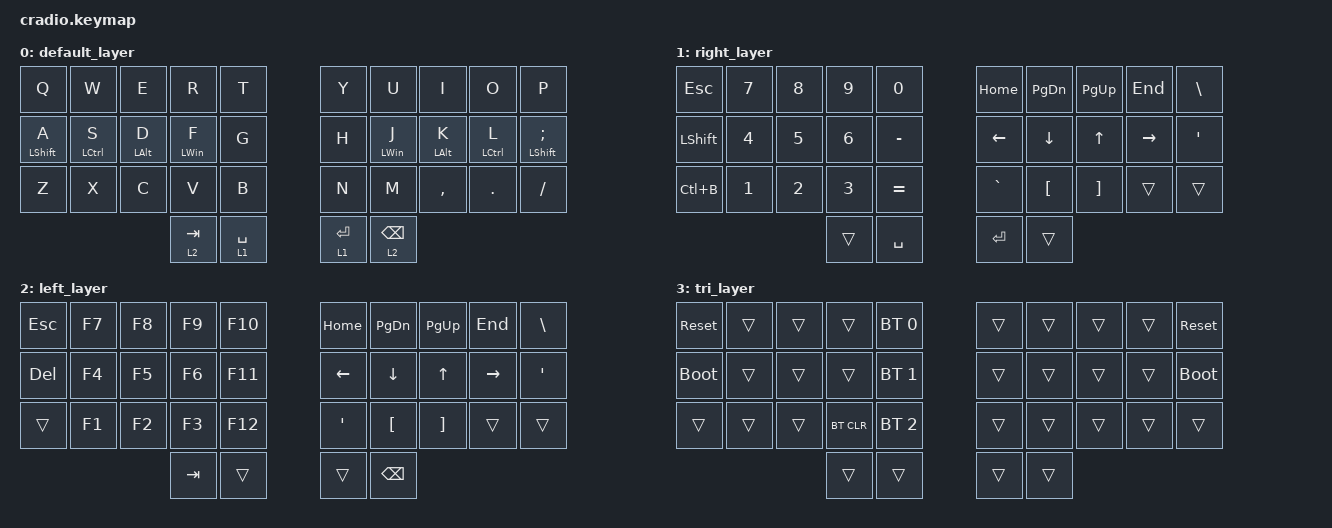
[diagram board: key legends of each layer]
// Copyright (c) 2022 The ZMK Contributors
// SPDX-License-Identifier: MIT

#include <behaviors.dtsi>
#include <dt-bindings/zmk/bt.h>
#include <dt-bindings/zmk/keys.h>

/ {
    behaviors {
        ht: ht {
            compatible = "zmk,behavior-hold-tap";
            label = "HT";
            bindings = <&kp>, <&kp>;

            #binding-cells = <2>;
            flavor = "tap-preferred";
            tapping-term-ms = <220>;
            quick-tap-ms = <150>;
        };
    };

    conditional_layers {
        compatible = "zmk,conditional-layers";

        tri_layer {
            if-layers = <1 2>;
            then-layer = <3>;
        };
    };

    keymap {
        compatible = "zmk,keymap";

        default_layer {
            bindings = <
&kp Q         &kp W        &kp E           &kp R       &kp T          &kp Y        &kp U       &kp I           &kp O        &kp P
&ht LSHIFT A  &ht LCTRL S  &ht LEFT_ALT D  &ht LWIN F  &kp G          &kp H        &ht LWIN J  &ht LEFT_ALT K  &ht LCTRL L  &ht LSHIFT SEMICOLON
&kp Z         &kp X        &kp C           &kp V       &kp B          &kp N        &kp M       &kp COMMA       &kp DOT      &kp FSLH
                                           &lt 2 TAB   &lt 1 SPACE    &lt 1 ENTER  &lt 2 BSPC
            >;
        };

        right_layer {
            bindings = <
&kp ESC     &kp N7  &kp N8  &kp N9  &kp N0       &kp HOME   &kp PG_DN         &kp PG_UP          &kp END    &kp BACKSLASH
&kp LSHIFT  &kp N4  &kp N5  &kp N6  &kp MINUS    &kp LEFT   &kp DOWN          &kp UP             &kp RIGHT  &kp SQT
&kp LC(B)   &kp N1  &kp N2  &kp N3  &kp EQUAL    &kp GRAVE  &kp LEFT_BRACKET  &kp RIGHT_BRACKET  &trans     &trans
                            &trans  &kp SPACE    &kp ENTER  &trans
            >;
        };

        left_layer {
            bindings = <
&kp ESC  &kp F7  &kp F8  &kp F9   &kp F10    &kp HOME  &kp PG_DN         &kp PG_UP          &kp END    &kp BACKSLASH
&kp DEL  &kp F4  &kp F5  &kp F6   &kp F11    &kp LEFT  &kp DOWN          &kp UP             &kp RIGHT  &kp SQT
&trans   &kp F1  &kp F2  &kp F3   &kp F12    &kp SQT   &kp LEFT_BRACKET  &kp RIGHT_BRACKET  &trans     &trans
                         &kp TAB  &trans     &trans    &kp BACKSPACE
            >;
        };

        tri_layer {
            bindings = <
&sys_reset   &trans  &trans  &trans      &bt BT_SEL 0    &trans  &trans  &trans  &trans  &sys_reset
&bootloader  &trans  &trans  &trans      &bt BT_SEL 1    &trans  &trans  &trans  &trans  &bootloader
&trans       &trans  &trans  &bt BT_CLR  &bt BT_SEL 2    &trans  &trans  &trans  &trans  &trans
                             &trans      &trans          &trans  &trans
            >;
        };
    };
};
